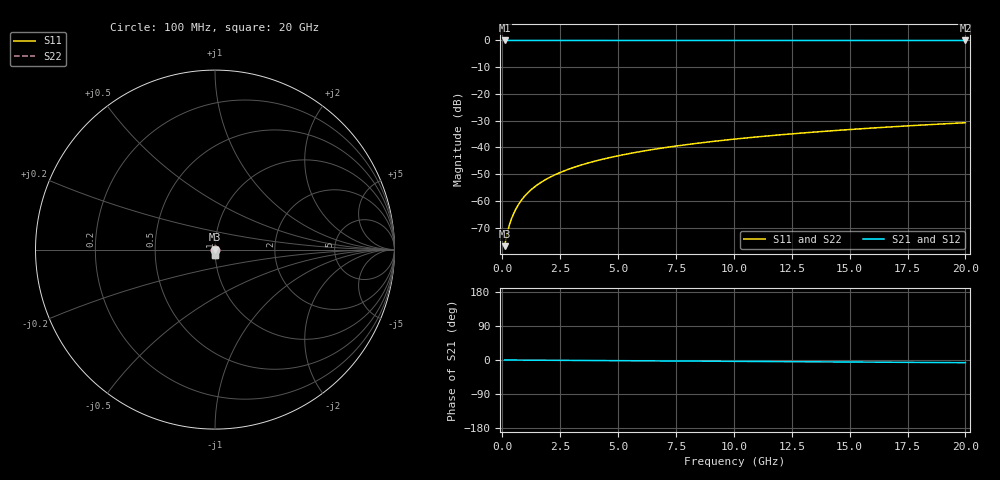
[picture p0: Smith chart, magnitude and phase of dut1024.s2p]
! Touchstone file exported from HFSS 2026.1.0
!  File:  C:/ffzhzh/LocalFiles/Ansys_Project_Files/temp_train_TSV_1024_1783188910_51560.aedt
!  Generated:  02:16:30 AM Jul  5, 2026
!  Design:  TSV
!  Project:  temp_train_TSV_1024_1783188910_51560
! Variables:
!  h_bsmrdl = 2um
!  h_ox = 20um
!  h_rdl = 5um
!  h_sub = 70.2um
!  h_tmrdl = 5um
!  h_tsv = 70.2um
!  h_via = 3um
!  l_bsmrdl = 300um
!  l_sub = 422.98um
!  l_tmrdl = 200um
!  m_sub = 200um
!  pitch = 36.99um
!  r_tsv = 11.49um
!  s_tmrdl = 10um
!  w_bsmrdl = 18um
!  w_sub = 500um
!  w_tmrdl = 12um
!  x_tsv_center1 = 206um
!  x_tsv_center2 = 524um
!  x_tsv_center3 = 736um
!  x_tsv_center4 = 1054um
!  x_tsv_center5 = 1266um
!  x_tsv_center6 = 1584um
# GHz S MA R 50.000000
! Terminal data exported
! Port[1] = TSV1_1_T1
! Port[2] = TSV1_1_T2
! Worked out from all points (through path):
!   200 points, 100 MHz to 20 GHz, reference 50 ohm
!   highest |S21| = 0.00 dB at 100 MHz (marker M1); lowest = 0.0 dB at 20 GHz (marker M2)
!   lowest |S11| = -76.9 dB at 100 MHz (marker M3), VSWR 1.00, Z = 50 - j0.0104 ohm
!   |S11| at or under -10 dB: start of sweep to end of sweep
!   |S22| runs from -76.9 to -30.7 dB; largest |S21 - S12| = 4.7e-15
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0.1  0.0001434 -46.5  0.9999 -0.0  0.9999 -0.0  0.0001434 -46.5
! Gamma 0 0 0 0
! Port Impedance 50 0 50 0
0.2  0.0002388 -62.2  0.9999 -0.1  0.9999 -0.1  0.0002388 -62.2
0.3  0.0003491 -68.2  0.9999 -0.1  0.9999 -0.1  0.0003491 -68.2
0.4  0.0004686 -71.2  0.9998 -0.1  0.9998 -0.1  0.0004686 -71.2
0.5  0.0005949 -73.0  0.9998 -0.2  0.9998 -0.2  0.0005949 -73.0
0.6  0.0007265 -74.4  0.9998 -0.2  0.9998 -0.2  0.0007265 -74.4
0.8  0.0009998 -76.5  0.9998 -0.3  0.9998 -0.3  0.0009998 -76.5
1.1  0.001422 -78.8  0.9997 -0.4  0.9997 -0.4  0.001422 -78.8
1.3  0.001706 -80.1  0.9997 -0.5  0.9997 -0.5  0.001706 -80.1
1.5  0.00199 -81.1  0.9997 -0.5  0.9997 -0.5  0.00199 -81.1
1.8  0.002417 -82.2  0.9996 -0.7  0.9996 -0.7  0.002417 -82.2
2.1  0.002843 -83.2  0.9996 -0.8  0.9996 -0.8  0.002843 -83.2
2.7  0.003697 -84.5  0.9996 -1.0  0.9996 -1.0  0.003697 -84.5
3.5  0.00484 -85.7  0.9995 -1.3  0.9995 -1.3  0.00484 -85.7
4.2  0.005846 -86.5  0.9995 -1.5  0.9995 -1.5  0.005846 -86.5
5  0.007001 -87.2  0.9994 -1.8  0.9994 -1.8  0.007001 -87.2
6.8  0.00962 -88.5  0.9993 -2.4  0.9993 -2.4  0.00962 -88.5
8.3  0.01182 -89.4  0.9992 -3.0  0.9992 -3.0  0.01182 -89.4
10.1  0.01446 -90.4  0.9991 -3.6  0.9991 -3.6  0.01446 -90.4
13.4  0.01931 -92.0  0.9989 -4.8  0.9989 -4.8  0.01931 -92.0
16.7  0.02417 -93.5  0.9987 -5.9  0.9987 -5.9  0.02417 -93.5
20  0.02904 -94.8  0.9984 -7.1  0.9984 -7.1  0.02904 -94.8
